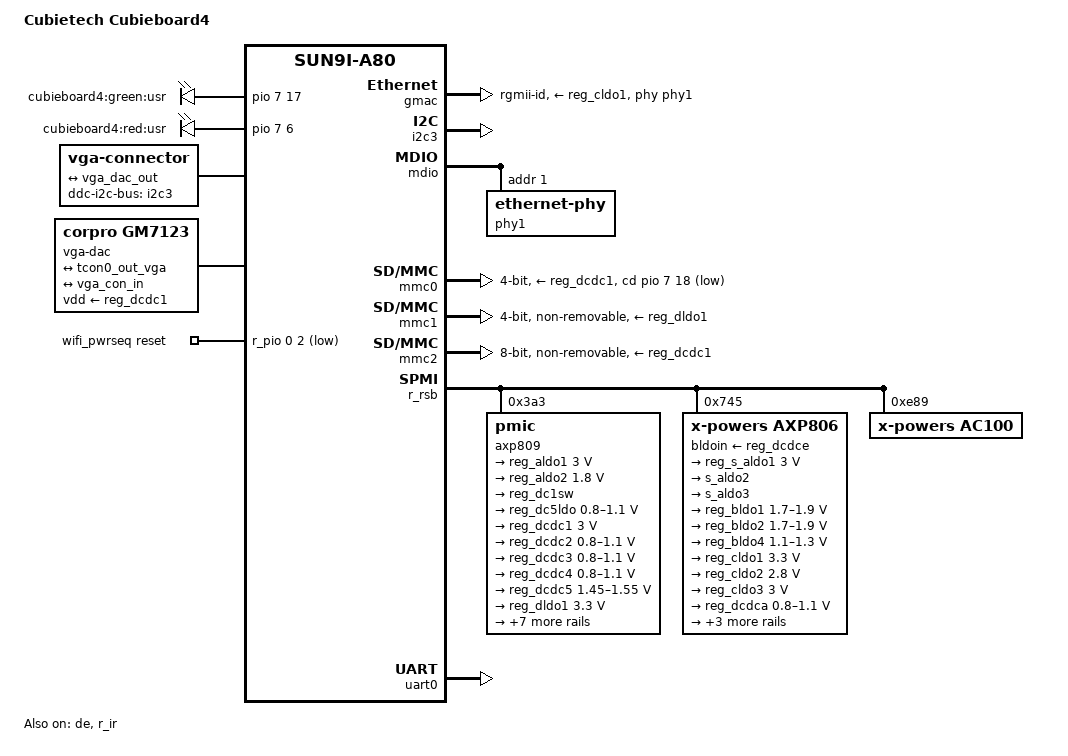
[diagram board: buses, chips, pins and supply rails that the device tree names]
/*
 * Copyright 2015 Tyler Baker
 *
 * Tyler Baker <tyler.baker@linaro.org>
 * Chen-Yu Tsai <wens@csie.org>
 *
 * This file is dual-licensed: you can use it either under the terms
 * of the GPL or the X11 license, at your option. Note that this dual
 * licensing only applies to this file, and not this project as a
 * whole.
 *
 *  a) This file is free software; you can redistribute it and/or
 *     modify it under the terms of the GNU General Public License as
 *     published by the Free Software Foundation; either version 2 of the
 *     License, or (at your option) any later version.
 *
 *     This file is distributed in the hope that it will be useful,
 *     but WITHOUT ANY WARRANTY; without even the implied warranty of
 *     MERCHANTABILITY or FITNESS FOR A PARTICULAR PURPOSE.  See the
 *     GNU General Public License for more details.
 *
 * Or, alternatively,
 *
 *  b) Permission is hereby granted, free of charge, to any person
 *     obtaining a copy of this software and associated documentation
 *     files (the "Software"), to deal in the Software without
 *     restriction, including without limitation the rights to use,
 *     copy, modify, merge, publish, distribute, sublicense, and/or
 *     sell copies of the Software, and to permit persons to whom the
 *     Software is furnished to do so, subject to the following
 *     conditions:
 *
 *     The above copyright notice and this permission notice shall be
 *     included in all copies or substantial portions of the Software.
 *
 *     THE SOFTWARE IS PROVIDED "AS IS", WITHOUT WARRANTY OF ANY KIND,
 *     EXPRESS OR IMPLIED, INCLUDING BUT NOT LIMITED TO THE WARRANTIES
 *     OF MERCHANTABILITY, FITNESS FOR A PARTICULAR PURPOSE AND
 *     NONINFRINGEMENT. IN NO EVENT SHALL THE AUTHORS OR COPYRIGHT
 *     HOLDERS BE LIABLE FOR ANY CLAIM, DAMAGES OR OTHER LIABILITY,
 *     WHETHER IN AN ACTION OF CONTRACT, TORT OR OTHERWISE, ARISING
 *     FROM, OUT OF OR IN CONNECTION WITH THE SOFTWARE OR THE USE OR
 *     OTHER DEALINGS IN THE SOFTWARE.
 */

/dts-v1/;
#include "sun9i-a80.dtsi"

#include <dt-bindings/gpio/gpio.h>

/ {
	model = "Cubietech Cubieboard4";
	compatible = "cubietech,a80-cubieboard4", "allwinner,sun9i-a80";

	aliases {
		serial0 = &uart0;
	};

	chosen {
		stdout-path = "serial0:115200n8";
	};

	leds {
		compatible = "gpio-leds";

		led-0 {
			label = "cubieboard4:green:usr";
			gpios = <&pio 7 17 GPIO_ACTIVE_HIGH>; /* PH17 */
		};

		led-1 {
			label = "cubieboard4:red:usr";
			gpios = <&pio 7 6 GPIO_ACTIVE_HIGH>; /* PH6 */
		};
	};

	vga-connector {
		compatible = "vga-connector";
		label = "vga";
		ddc-i2c-bus = <&i2c3>;

		port {
			vga_con_in: endpoint {
				remote-endpoint = <&vga_dac_out>;
			};
		};
	};

	vga-dac {
		compatible = "corpro,gm7123", "adi,adv7123";
		vdd-supply = <&reg_dcdc1>;

		ports {
			#address-cells = <1>;
			#size-cells = <0>;

			port@0 {
				reg = <0>;

				vga_dac_in: endpoint {
					remote-endpoint = <&tcon0_out_vga>;
				};
			};

			port@1 {
				reg = <1>;

				vga_dac_out: endpoint {
					remote-endpoint = <&vga_con_in>;
				};
			};
		};
	};

	wifi_pwrseq: wifi-pwrseq {
		compatible = "mmc-pwrseq-simple";
		clocks = <&ac100_rtc 1>;
		clock-names = "ext_clock";
		/* enables internal regulator and de-asserts reset */
		reset-gpios = <&r_pio 0 2 GPIO_ACTIVE_LOW>; /* PL2 WL-PMU-EN */
	};
};

&de {
	status = "okay";
};

&gmac {
	pinctrl-names = "default";
	pinctrl-0 = <&gmac_rgmii_pins>;
	phy-handle = <&phy1>;
	phy-mode = "rgmii-id";
	phy-supply = <&reg_cldo1>;
	status = "okay";
};

&i2c3 {
	pinctrl-names = "default";
	pinctrl-0 = <&i2c3_pins>;
	status = "okay";
};

&mdio {
	phy1: ethernet-phy@1 {
		reg = <1>;
	};
};

&mmc0 {
	pinctrl-names = "default";
	pinctrl-0 = <&mmc0_pins>;
	vmmc-supply = <&reg_dcdc1>;
	bus-width = <4>;
	cd-gpios = <&pio 7 18 GPIO_ACTIVE_LOW>; /* PH18 */
	status = "okay";
};

&mmc1 {
	pinctrl-names = "default";
	pinctrl-0 = <&mmc1_pins>;
	vmmc-supply = <&reg_dldo1>;
	vqmmc-supply = <&reg_cldo3>;
	mmc-pwrseq = <&wifi_pwrseq>;
	bus-width = <4>;
	non-removable;
	status = "okay";
};

&mmc1_pins {
	bias-pull-up;
};

&mmc2 {
	pinctrl-names = "default";
	pinctrl-0 = <&mmc2_8bit_pins>;
	vmmc-supply = <&reg_dcdc1>;
	bus-width = <8>;
	non-removable;
	cap-mmc-hw-reset;
	status = "okay";
};

&mmc2_8bit_pins {
	/* Increase drive strength for DDR modes */
	drive-strength = <40>;
};

&osc32k {
	/* osc32k input is from AC100 */
	clocks = <&ac100_rtc 0>;
};

&pio {
	vcc-pa-supply = <&reg_ldo_io1>;
	vcc-pb-supply = <&reg_aldo2>;
	vcc-pc-supply = <&reg_dcdc1>;
	vcc-pd-supply = <&reg_dc1sw>;
	vcc-pe-supply = <&reg_eldo2>;
	vcc-pf-supply = <&reg_dcdc1>;
	vcc-pg-supply = <&reg_ldo_io0>;
	vcc-ph-supply = <&reg_dcdc1>;
};

&r_ir {
	status = "okay";
};

&r_pio {
	vcc-pl-supply = <&reg_dldo2>;
	vcc-pm-supply = <&reg_eldo3>;
};

&r_rsb {
	status = "okay";

	axp809: pmic@3a3 {
		reg = <0x3a3>;
		interrupt-parent = <&nmi_intc>;
		interrupts = <0 IRQ_TYPE_LEVEL_LOW>;

		regulators {
			reg_aldo1: aldo1 {
				/*
				 * TODO: This should be handled by the
				 * USB PHY driver.
				 */
				regulator-always-on;
				regulator-min-microvolt = <3000000>;
				regulator-max-microvolt = <3000000>;
				regulator-name = "vcc33-usbh";
			};

			reg_aldo2: aldo2 {
				regulator-min-microvolt = <1800000>;
				regulator-max-microvolt = <1800000>;
				regulator-name = "vcc-pb-io-cam";
			};

			aldo3 {
				/* unused */
			};

			reg_dc1sw: dc1sw {
				regulator-name = "vcc-pd";
			};

			reg_dc5ldo: dc5ldo {
				regulator-always-on;
				regulator-min-microvolt = <800000>;
				regulator-max-microvolt = <1100000>;
				regulator-name = "vdd-cpus-09-usbh";
			};

			reg_dcdc1: dcdc1 {
				regulator-always-on;
				regulator-min-microvolt = <3000000>;
				regulator-max-microvolt = <3000000>;
				regulator-name = "vcc-3v";
			};

			reg_dcdc2: dcdc2 {
				regulator-min-microvolt = <800000>;
				regulator-max-microvolt = <1100000>;
				regulator-name = "vdd-gpu";
			};

			reg_dcdc3: dcdc3 {
				regulator-always-on;
				regulator-min-microvolt = <800000>;
				regulator-max-microvolt = <1100000>;
				regulator-name = "vdd-cpua";
			};

			reg_dcdc4: dcdc4 {
				regulator-always-on;
				regulator-min-microvolt = <800000>;
				regulator-max-microvolt = <1100000>;
				regulator-name = "vdd-sys-usb0-hdmi";
			};

			reg_dcdc5: dcdc5 {
				regulator-always-on;
				regulator-min-microvolt = <1450000>;
				regulator-max-microvolt = <1550000>;
				regulator-name = "vcc-dram";
			};

			reg_dldo1: dldo1 {
				/*
				 * The WiFi chip supports a wide range
				 * (3.0 ~ 4.8V) of voltages, and so does
				 * this regulator (3.0 ~ 4.2V), but
				 * Allwinner SDK always sets it to 3.3V.
				 */
				regulator-min-microvolt = <3300000>;
				regulator-max-microvolt = <3300000>;
				regulator-name = "vcc-wifi";
			};

			reg_dldo2: dldo2 {
				regulator-min-microvolt = <3000000>;
				regulator-max-microvolt = <3000000>;
				regulator-name = "vcc-pl";
			};

			reg_eldo1: eldo1 {
				regulator-min-microvolt = <1200000>;
				regulator-max-microvolt = <1200000>;
				regulator-name = "vcc-dvdd-cam";
			};

			reg_eldo2: eldo2 {
				regulator-min-microvolt = <1800000>;
				regulator-max-microvolt = <1800000>;
				regulator-name = "vcc-pe";
			};

			reg_eldo3: eldo3 {
				regulator-min-microvolt = <3000000>;
				regulator-max-microvolt = <3000000>;
				regulator-name = "vcc-pm-codec-io1";
			};

			reg_ldo_io0: ldo_io0 {
				regulator-min-microvolt = <3000000>;
				regulator-max-microvolt = <3000000>;
				regulator-name = "vcc-pg";
			};

			reg_ldo_io1: ldo_io1 {
				regulator-min-microvolt = <2500000>;
				regulator-max-microvolt = <2500000>;
				regulator-name = "vcc-pa-gmac-2v5";
			};

			reg_rtc_ldo: rtc_ldo {
				regulator-name = "vcc-rtc-vdd1v8-io";
			};

			sw {
				/* unused */
			};
		};
	};

	axp806: pmic@745 {
		compatible = "x-powers,axp806";
		reg = <0x745>;
		interrupt-parent = <&nmi_intc>;
		interrupts = <0 IRQ_TYPE_LEVEL_LOW>;
		interrupt-controller;
		#interrupt-cells = <1>;
		bldoin-supply = <&reg_dcdce>;

		regulators {
			reg_s_aldo1: aldo1 {
				regulator-always-on;
				regulator-min-microvolt = <3000000>;
				regulator-max-microvolt = <3000000>;
				regulator-name = "avcc";
			};

			aldo2 {
				/*
				 * unused, but use a different name to
				 * avoid name clash with axp809's aldo's
				 */
				regulator-name = "s_aldo2";
			};

			aldo3 {
				/*
				 * unused, but use a different name to
				 * avoid name clash with axp809's aldo's
				 */
				regulator-name = "s_aldo3";
			};

			reg_bldo1: bldo1 {
				regulator-always-on;
				regulator-min-microvolt = <1700000>;
				regulator-max-microvolt = <1900000>;
				regulator-name = "vcc18-efuse-adc-display-csi";
			};

			reg_bldo2: bldo2 {
				regulator-always-on;
				regulator-min-microvolt = <1700000>;
				regulator-max-microvolt = <1900000>;
				regulator-name =
					"vdd18-drampll-vcc18-pll-cpvdd";
			};

			bldo3 {
				/* unused */
			};

			reg_bldo4: bldo4 {
				regulator-min-microvolt = <1100000>;
				regulator-max-microvolt = <1300000>;
				regulator-name = "vcc12-hsic";
			};

			reg_cldo1: cldo1 {
				/*
				 * This was 3V in the original design, but
				 * 3.3V is the recommended supply voltage
				 * for the Ethernet PHY.
				 */
				regulator-min-microvolt = <3300000>;
				regulator-max-microvolt = <3300000>;
				/*
				 * The PHY requires 20ms after all voltages
				 * are applied until core logic is ready and
				 * 30ms after the reset pin is de-asserted.
				 * Set a 100ms delay to account for PMIC
				 * ramp time and board traces.
				 */
				regulator-enable-ramp-delay = <100000>;
				regulator-name = "vcc-gmac-phy";
			};

			reg_cldo2: cldo2 {
				regulator-min-microvolt = <2800000>;
				regulator-max-microvolt = <2800000>;
				regulator-name = "afvcc-cam";
			};

			reg_cldo3: cldo3 {
				regulator-min-microvolt = <3000000>;
				regulator-max-microvolt = <3000000>;
				regulator-name = "vcc-io-wifi-codec-io2";
			};

			reg_dcdca: dcdca {
				regulator-always-on;
				regulator-min-microvolt = <800000>;
				regulator-max-microvolt = <1100000>;
				regulator-name = "vdd-cpub";
			};

			reg_dcdcd: dcdcd {
				regulator-always-on;
				regulator-min-microvolt = <800000>;
				regulator-max-microvolt = <1100000>;
				regulator-name = "vdd-vpu";
			};

			reg_dcdce: dcdce {
				regulator-always-on;
				regulator-min-microvolt = <2100000>;
				regulator-max-microvolt = <2100000>;
				regulator-name = "vcc-bldo-codec-ldoin";
			};

			sw {
				/*
				 * unused, but use a different name to
				 * avoid name clash with axp809's sw
				 */
				regulator-name = "s_sw";
			};
		};
	};

	ac100: codec@e89 {
		compatible = "x-powers,ac100";
		reg = <0xe89>;

		ac100_codec: codec {
			compatible = "x-powers,ac100-codec";
			interrupt-parent = <&r_pio>;
			interrupts = <0 9 IRQ_TYPE_LEVEL_LOW>; /* PL9 */
			#clock-cells = <0>;
			clock-output-names = "4M_adda";
		};

		ac100_rtc: rtc {
			compatible = "x-powers,ac100-rtc";
			interrupt-parent = <&nmi_intc>;
			interrupts = <0 IRQ_TYPE_LEVEL_LOW>;
			clocks = <&ac100_codec>;
			#clock-cells = <1>;
			clock-output-names = "cko1_rtc",
					     "cko2_rtc",
					     "cko3_rtc";
		};
	};
};

#include "axp809.dtsi"

&tcon0 {
	pinctrl-names = "default";
	pinctrl-0 = <&lcd0_rgb888_pins>;
};

&tcon0_out {
	tcon0_out_vga: endpoint {
		remote-endpoint = <&vga_dac_in>;
	};
};

&uart0 {
	pinctrl-names = "default";
	pinctrl-0 = <&uart0_ph_pins>;
	status = "okay";
};
